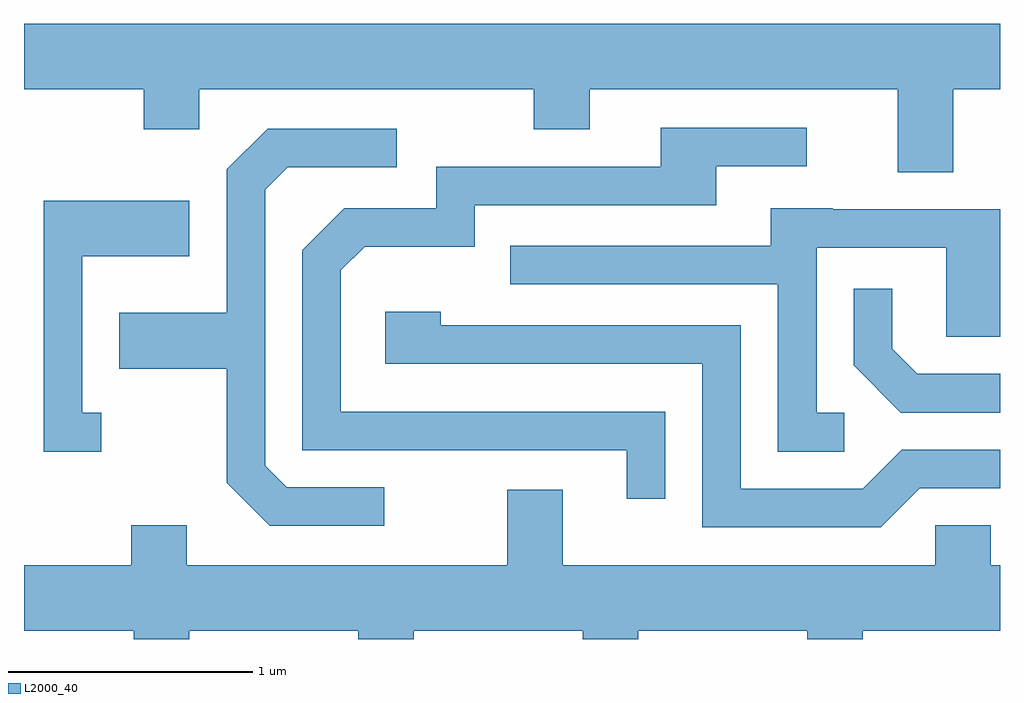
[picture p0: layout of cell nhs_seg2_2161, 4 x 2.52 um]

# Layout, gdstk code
import gdstk
lib = gdstk.Library(unit=1e-6, precision=1e-09)
def P(c, l, *ps):  # polygons
    for p in ps: c.add(gdstk.Polygon(p, *l))
L2000_40 = (2000, 40)

nhs_seg2_2161 = lib.new_cell('nhs_seg2_2161')
P(nhs_seg2_2161, L2000_40, [(251.419,1086.056),(251.611,1086.056),(251.611,1086.324),(247.611,1086.324),(247.611,1086.056),(248.101,1086.056),(248.101,1085.891),(248.329,1085.891),(248.329,1086.056),(249.701,1086.056),(249.701,1085.891),(249.929,1085.891),(249.929,1086.056),(251.191,1086.056),(251.191,1085.716),(251.419,1085.716)],
  [(250.239,1084.734),(248.909,1084.734),(248.909,1085.314),(249.007,1085.411),(249.459,1085.411),(249.459,1085.581),(250.449,1085.581),(250.449,1085.741),(250.818,1085.741),(250.818,1085.899),(250.221,1085.899),(250.221,1085.739),(249.301,1085.739),(249.301,1085.569),(248.924,1085.569),(248.751,1085.397),(248.751,1084.576),(250.081,1084.576),(250.081,1084.378),(250.239,1084.378)],
  [(249.088,1084.424),(248.687,1084.424),(248.599,1084.512),(248.599,1085.644),(248.692,1085.736),(249.138,1085.736),(249.138,1085.894),(248.609,1085.894),(248.441,1085.727),(248.441,1085.139),(248.001,1085.139),(248.001,1084.911),(248.441,1084.911),(248.441,1084.444),(248.619,1084.266),(249.088,1084.266)],
  [(247.928,1084.729),(247.849,1084.729),(247.849,1085.371),(248.289,1085.371),(248.289,1085.599),(247.691,1085.599),(247.691,1084.571),(247.928,1084.571)],
  [(250.973,1084.729),(250.859,1084.729),(250.859,1085.406),(251.391,1085.406),(251.391,1085.041),(251.611,1085.041),(251.611,1085.564),(250.925,1085.564),(250.925,1085.569),(250.671,1085.569),(250.671,1085.414),(249.603,1085.414),(249.603,1085.256),(250.701,1085.256),(250.701,1084.571),(250.973,1084.571)],
  [(251.611,1084.889),(251.272,1084.889),(251.169,1084.992),(251.169,1085.238),(251.011,1085.238),(251.011,1084.924),(251.204,1084.731),(251.611,1084.731)],
  [(251.282,1084.421),(251.611,1084.421),(251.611,1084.579),(251.209,1084.579),(251.049,1084.419),(250.549,1084.419),(250.549,1085.089),(249.319,1085.089),(249.319,1085.144),(249.091,1085.144),(249.091,1084.931),(250.391,1084.931),(250.391,1084.261),(251.122,1084.261)],
  [(248.289,1083.836),(248.981,1083.836),(248.981,1083.802),(249.209,1083.802),(249.209,1083.836),(249.901,1083.836),(249.901,1083.802),(250.129,1083.802),(250.129,1083.836),(250.821,1083.836),(250.821,1083.802),(251.049,1083.802),(251.049,1083.836),(251.611,1083.836),(251.611,1084.104),(251.574,1084.104),(251.574,1084.269),(251.346,1084.269),(251.346,1084.104),(249.819,1084.104),(249.819,1084.414),(249.591,1084.414),(249.591,1084.104),(248.279,1084.104),(248.279,1084.269),(248.051,1084.269),(248.051,1084.104),(247.611,1084.104),(247.611,1083.836),(248.061,1083.836),(248.061,1083.802),(248.289,1083.802)])

lib.write_gds('nhs_seg2_2161.gds')
